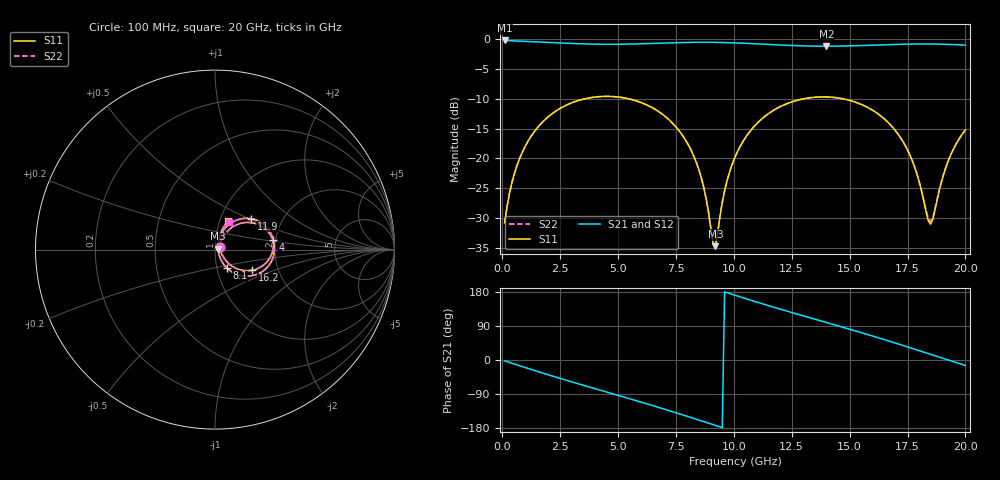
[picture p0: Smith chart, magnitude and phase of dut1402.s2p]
! Touchstone file exported from HFSS 2026.1.0
!  File:  C:/ffzhzh/LocalFiles/Ansys_Project_Files/temp_train_TSV_RDL_1402_1783352007_50076.aedt
!  Generated:  11:44:56 PM Jul  6, 2026
!  Design:  TSV_RDL
!  Project:  temp_train_TSV_RDL_1402_1783352007_50076
! Variables:
!  h_bsmrdl = 6um
!  h_ox = 20um
!  h_rdl = 5um
!  h_sub = 65.81um
!  h_tmrdl = 3.04um
!  h_tsv = 65.81um
!  h_via = 3um
!  l_bsmrdl = 944.27um
!  l_sub = 6285.02um
!  l_tmrdl = 731.38um
!  m_sub = 200um
!  pitch = 37.17um
!  r_tsv = 14.41um
!  s_tmrdl = 10um
!  w_bsmrdl = 20.29um
!  w_sub = 500um
!  w_tmrdl = 21.94um
!  x_tsv_center1 = 742.35um
!  x_tsv_center2 = 1706.91um
!  x_tsv_center3 = 2460.23um
!  x_tsv_center4 = 3424.79um
!  x_tsv_center5 = 4178.11um
!  x_tsv_center6 = 5142.67um
# GHz S MA R 50.000000
! Terminal data exported
! Port[1] = TM_RDL1_1_T1
! Port[2] = TM_RDL5_1_T1
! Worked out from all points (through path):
!   200 points, 100 MHz to 20 GHz, reference 50 ohm
!   highest |S21| = -0.22 dB at 100 MHz (marker M1); lowest = -1.2 dB at 14 GHz (marker M2)
!   group delay of S21, straight-line fit = 51.6 ps
!   lowest |S11| = -34.7 dB at 9.2 GHz (marker M3), VSWR 1.04, Z = 51.8 + j0.523 ohm
!   |S11| at or under -10 dB: start of sweep to 3.567 GHz; 5.451 GHz to 13.02 GHz (7.569 GHz wide, 82 % of centre); 14.71 GHz to end of sweep
!   |S22| runs from -34.7 to -9.6 dB; largest |S21 - S12| = 1.7e-14
!   S11 on the Smith chart (normalised r, x): 100 MHz: 1.05, +0.03; 4 GHz: 1.93, +0.23; 8.1 GHz: 1.12, -0.23; 11.9 GHz: 1.39, +0.52; 16.2 GHz: 1.48, -0.36; 20 GHz: 1.10, +0.35
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0.1  0.02879 28.9  0.9752 -2.1  0.9752 -2.1  0.02879 28.9
! Gamma 0 0 0 0
! Port Impedance 50 0 50 0
0.5  0.07203 55.5  0.9683 -10.3  0.9683 -10.3  0.07203 55.5
1.2  0.1487 53.4  0.9566 -24.0  0.9566 -24.0  0.1487 53.4
2.2  0.2409 38.9  0.9359 -43.1  0.9359 -43.1  0.2409 38.9
3.5  0.314 17.6  0.9129 -66.8  0.9129 -66.8  0.314 17.6
4  0.3269 9.4  0.9079 -75.7  0.9079 -75.7  0.327 9.4
5.4  0.3179 -13.8  0.9084 -100.4  0.9084 -100.4  0.3179 -13.8
6.8  0.2433 -37.2  0.9248 -126.0  0.9248 -126.0  0.2433 -37.2
8.1  0.1228 -57.0  0.9398 -150.9  0.9398 -150.9  0.1228 -57.0
8.6  0.06814 -59.6  0.9419 -160.7  0.9419 -160.7  0.06815 -59.6
9.2  0.01836 16.0  0.9405 -172.5  0.9405 -172.5  0.01839 16.0
9.6  0.05336 66.5  0.937 179.6  0.937 179.6  0.05338 66.5
10.1  0.1077 67.1  0.9302 169.9  0.9302 169.9  0.1077 67.2
11.9  0.2653 40.5  0.895 136.0  0.895 136.0  0.2653 40.5
13.4  0.3244 16.1  0.875 109.4  0.875 109.4  0.3244 16.2
14  0.3276 6.4  0.8731 98.9  0.8731 98.9  0.3277 6.5
16.2  0.2383 -28.8  0.8933 59.4  0.8933 59.4  0.2384 -28.5
16.7  0.1968 -36.3  0.9003 50.0  0.9003 50.0  0.1969 -35.9
17.7  0.09619 -45.9  0.9103 30.7  0.9103 30.7  0.09654 -45.1
18.5  0.02809 15.2  0.9109 14.9  0.9109 14.9  0.0296 15.2
19.2  0.0887 70.5  0.9048 1.1  0.9048 1.1  0.08933 69.5
20  0.1731 64.9  0.8917 -14.4  0.8917 -14.4  0.1735 64.3
